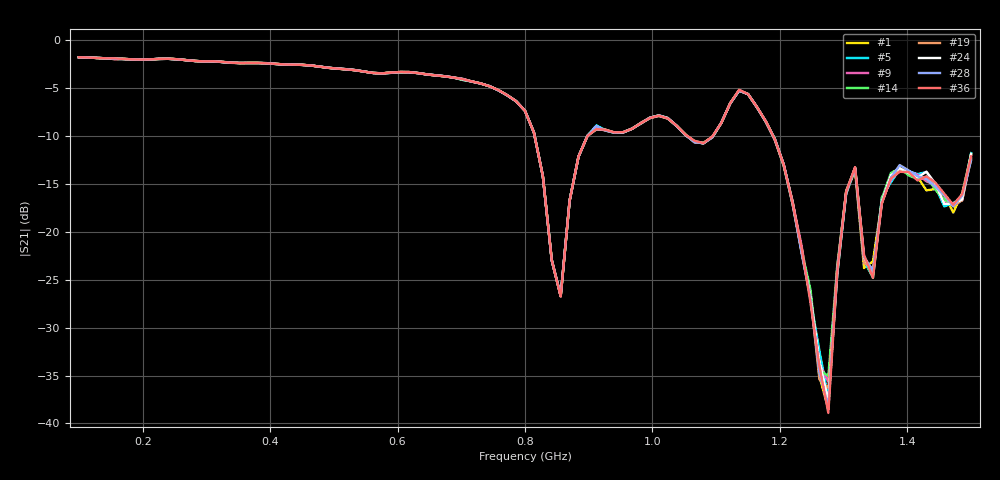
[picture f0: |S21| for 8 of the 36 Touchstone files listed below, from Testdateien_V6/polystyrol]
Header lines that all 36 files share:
! NanoVNA-App
! Start: 100MHz Stop: 1,5GHz Points: 101
! S-Parameter data: F S11 S21 S12 S22
# Hz S RI R 50
!  Frequency  S11_Real  S11_Imag  S21_Real  S21_Imag  S12_Real  S12_Imag  S22_Real  S22_Imag
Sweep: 100 MHz to 1.5 GHz
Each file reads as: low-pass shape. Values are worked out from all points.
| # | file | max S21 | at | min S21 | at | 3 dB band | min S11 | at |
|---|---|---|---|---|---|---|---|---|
| 1 | polystyrol (62).s2p | -1.79 dB | 100 MHz | -38.5 dB | 1.276 GHz | 100 MHz-730 MHz | -39.2 dB | 128 MHz |
| 2 | polystyrol (65).s2p | -1.79 dB | 100 MHz | -36.6 dB | 1.276 GHz | 100 MHz-730 MHz | -39.3 dB | 128 MHz |
| 3 | polystyrol (66).s2p | -1.79 dB | 100 MHz | -37.5 dB | 1.276 GHz | 100 MHz-730 MHz | -39.3 dB | 128 MHz |
| 4 | polystyrol (67).s2p | -1.79 dB | 100 MHz | -37.6 dB | 1.276 GHz | 100 MHz-730 MHz | -39.2 dB | 128 MHz |
| 5 | polystyrol (68).s2p | -1.79 dB | 100 MHz | -37.4 dB | 1.276 GHz | 100 MHz-730 MHz | -39.3 dB | 128 MHz |
| 6 | polystyrol (69).s2p | -1.79 dB | 100 MHz | -38.1 dB | 1.276 GHz | 100 MHz-730 MHz | -39.3 dB | 128 MHz |
| 7 | polystyrol (70).s2p | -1.79 dB | 100 MHz | -34.7 dB | 1.276 GHz | 100 MHz-730 MHz | -39.3 dB | 128 MHz |
| 8 | polystyrol (71).s2p | -1.79 dB | 100 MHz | -38.4 dB | 1.276 GHz | 100 MHz-730 MHz | -39.3 dB | 128 MHz |
| 9 | polystyrol (72).s2p | -1.79 dB | 100 MHz | -35.6 dB | 1.276 GHz | 100 MHz-730 MHz | -39.3 dB | 128 MHz |
| 10 | polystyrol (73).s2p | -1.79 dB | 100 MHz | -34.8 dB | 1.262 GHz | 100 MHz-730 MHz | -39.3 dB | 128 MHz |
| 11 | polystyrol (74).s2p | -1.79 dB | 100 MHz | -37.7 dB | 1.276 GHz | 100 MHz-730 MHz | -39.2 dB | 128 MHz |
| 12 | polystyrol (75).s2p | -1.79 dB | 100 MHz | -36.0 dB | 1.276 GHz | 100 MHz-730 MHz | -39.2 dB | 128 MHz |
| 13 | polystyrol (76).s2p | -1.79 dB | 100 MHz | -36.7 dB | 1.276 GHz | 100 MHz-730 MHz | -39.2 dB | 128 MHz |
| 14 | polystyrol (77).s2p | -1.79 dB | 100 MHz | -35.0 dB | 1.276 GHz | 100 MHz-730 MHz | -39.3 dB | 128 MHz |
| 15 | polystyrol (78).s2p | -1.79 dB | 100 MHz | -36.2 dB | 1.276 GHz | 100 MHz-730 MHz | -39.2 dB | 128 MHz |
| 16 | polystyrol (79).s2p | -1.79 dB | 100 MHz | -38.1 dB | 1.276 GHz | 100 MHz-730 MHz | -39.3 dB | 128 MHz |
| 17 | polystyrol (80).s2p | -1.79 dB | 100 MHz | -35.4 dB | 1.276 GHz | 100 MHz-730 MHz | -39.2 dB | 128 MHz |
| 18 | polystyrol (82).s2p | -1.79 dB | 100 MHz | -38.7 dB | 1.276 GHz | 100 MHz-730 MHz | -39.3 dB | 128 MHz |
| 19 | polystyrol (83).s2p | -1.79 dB | 100 MHz | -36.3 dB | 1.276 GHz | 100 MHz-730 MHz | -39.2 dB | 128 MHz |
| 20 | polystyrol (84).s2p | -1.79 dB | 100 MHz | -37.8 dB | 1.276 GHz | 100 MHz-730 MHz | -39.3 dB | 128 MHz |
| 21 | polystyrol (85).s2p | -1.79 dB | 100 MHz | -36.3 dB | 1.276 GHz | 100 MHz-730 MHz | -39.3 dB | 128 MHz |
| 22 | polystyrol (86).s2p | -1.79 dB | 100 MHz | -36.5 dB | 1.276 GHz | 100 MHz-730 MHz | -39.2 dB | 128 MHz |
| 23 | polystyrol (87).s2p | -1.79 dB | 100 MHz | -35.9 dB | 1.276 GHz | 100 MHz-730 MHz | -39.3 dB | 128 MHz |
| 24 | polystyrol (88).s2p | -1.79 dB | 100 MHz | -37.6 dB | 1.276 GHz | 100 MHz-730 MHz | -39.3 dB | 128 MHz |
| 25 | polystyrol (89).s2p | -1.79 dB | 100 MHz | -40.1 dB | 1.276 GHz | 100 MHz-730 MHz | -39.3 dB | 128 MHz |
| 26 | polystyrol (90).s2p | -1.79 dB | 100 MHz | -35.7 dB | 1.276 GHz | 100 MHz-730 MHz | -39.2 dB | 128 MHz |
| 27 | polystyrol (91).s2p | -1.79 dB | 100 MHz | -37.0 dB | 1.276 GHz | 100 MHz-730 MHz | -39.3 dB | 128 MHz |
| 28 | polystyrol (92).s2p | -1.79 dB | 100 MHz | -38.2 dB | 1.276 GHz | 100 MHz-730 MHz | -39.2 dB | 128 MHz |
| 29 | polystyrol (93).s2p | -1.79 dB | 100 MHz | -37.1 dB | 1.276 GHz | 100 MHz-730 MHz | -39.3 dB | 128 MHz |
| 30 | polystyrol (95).s2p | -1.79 dB | 100 MHz | -36.4 dB | 1.276 GHz | 100 MHz-730 MHz | -39.2 dB | 128 MHz |
| 31 | polystyrol (96).s2p | -1.79 dB | 100 MHz | -38.4 dB | 1.276 GHz | 100 MHz-730 MHz | -39.3 dB | 128 MHz |
| 32 | polystyrol (97).s2p | -1.79 dB | 100 MHz | -37.0 dB | 1.276 GHz | 100 MHz-730 MHz | -39.3 dB | 128 MHz |
| 33 | polystyrol (98).s2p | -1.79 dB | 100 MHz | -37.3 dB | 1.276 GHz | 100 MHz-730 MHz | -39.3 dB | 128 MHz |
| 34 | polystyrol (99).s2p | -1.79 dB | 100 MHz | -36.6 dB | 1.276 GHz | 100 MHz-730 MHz | -39.3 dB | 128 MHz |
| 35 | polystyrol (100).s2p | -1.79 dB | 100 MHz | -38.6 dB | 1.276 GHz | 100 MHz-730 MHz | -39.2 dB | 128 MHz |
| 36 | polystyrol (101).s2p | -1.79 dB | 100 MHz | -38.9 dB | 1.276 GHz | 100 MHz-730 MHz | -39.2 dB | 128 MHz |
